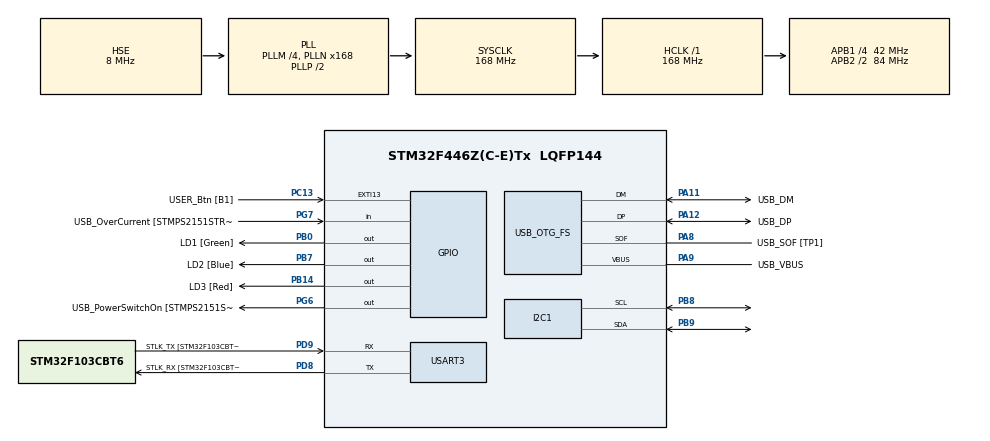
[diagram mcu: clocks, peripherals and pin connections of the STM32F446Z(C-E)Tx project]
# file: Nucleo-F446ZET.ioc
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Mcu.Family=STM32F4
Mcu.Name=STM32F446Z(C-E)Tx
Mcu.Package=LQFP144
NVIC.PriorityGroup=NVIC_PRIORITYGROUP_4
PA10.GPIO_Label=USB_ID
PA10.Signal=USB_OTG_FS_ID
PA11.GPIO_Label=USB_DM
PA11.Mode=Device_Only
PA11.Signal=USB_OTG_FS_DM
PA12.GPIO_Label=USB_DP
PA12.Mode=Device_Only
PA12.Signal=USB_OTG_FS_DP
PA13.GPIO_Label=TMS
PA13.Mode=Serial_Wire
PA13.Signal=SYS_JTMS-SWDIO
PA14.GPIO_Label=TCK
PA14.Mode=Serial_Wire
PA14.Signal=SYS_JTCK-SWCLK
PA8.GPIO_Label=USB_SOF [TP1]
PA8.Mode=Activate_SOF_FS
PA8.Signal=USB_OTG_FS_SOF
PA9.GPIO_Label=USB_VBUS
PA9.Mode=Activate_VBUS
PA9.Signal=USB_OTG_FS_VBUS
PB0.GPIO_Label=LD1 [Green]
PB0.Signal=GPIO_Output
PB14.GPIO_Label=LD3 [Red]
PB14.Signal=GPIO_Output
PB7.GPIO_Label=LD2 [Blue]
PB7.Signal=GPIO_Output
PB8.Mode=I2C
PB8.Signal=I2C1_SCL
PB9.Mode=I2C
PB9.Signal=I2C1_SDA
PC13.GPIO_Label=USER_Btn [B1]
PC13.Signal=GPXTI13
PC14-OSC32_IN.Mode=LSE-External-Oscillator
PC14-OSC32_IN.Signal=RCC_OSC32_IN
PC15-OSC32_OUT.Mode=LSE-External-Oscillator
PC15-OSC32_OUT.Signal=RCC_OSC32_OUT
PD8.GPIO_Label=STLK_RX [STM32F103CBT6_PA3]
PD8.Mode=Asynchronous
PD8.Signal=USART3_TX
PD9.GPIO_Label=STLK_TX [STM32F103CBT6_PA2]
PD9.Mode=Asynchronous
PD9.Signal=USART3_RX
PG6.GPIO_Label=USB_PowerSwitchOn [STMPS2151STR_EN]
PG6.Signal=GPIO_Output
PG7.GPIO_Label=USB_OverCurrent [STMPS2151STR_FAULT]
PG7.Signal=GPIO_Input
PH0-OSC_IN.GPIO_Label=MCO [STM32F103CBT6_PA8]
PH0-OSC_IN.Mode=HSE-External-Clock-Source
PH0-OSC_IN.Signal=RCC_OSC_IN
PH1-OSC_OUT.Mode=HSE-External-Clock-Source
PH1-OSC_OUT.Signal=RCC_OSC_OUT
ProjectManager.HeapSize=0x200
ProjectManager.StackSize=0x400
ProjectManager.TargetToolchain=STM32CubeIDE
RCC.48MHZClocksFreq_Value=24000000
RCC.AHBFreq_Value=168000000
RCC.APB1CLKDivider=RCC_HCLK_DIV4
RCC.APB1Freq_Value=42000000
RCC.APB1TimFreq_Value=84000000
RCC.APB2CLKDivider=RCC_HCLK_DIV2
RCC.APB2Freq_Value=84000000
RCC.APB2TimFreq_Value=168000000
RCC.CortexFreq_Value=168000000
RCC.HCLKFreq_Value=168000000
RCC.HSE_VALUE=8000000
RCC.HSI_VALUE=16000000
RCC.PLLM=4
RCC.PLLMUL=RCC_PLL_MUL9
RCC.PLLN=168
RCC.PLLQ=7
RCC.PRESCALERUSB=RCC_USBCLKSOURCE_PLL_DIV1_5
RCC.SYSCLKFreq_VALUE=168000000
RCC.SYSCLKSource=RCC_SYSCLKSOURCE_PLLCLK
RCC.SYSCLKSourceVirtual=RCC_SYSCLKSOURCE_PLLCLK
RCC.USBFreq_Value=48000000
RCC.VCOOutputFreq_Value=336000000
USART3.VirtualMode=VM_ASYNC
USB_OTG_FS.VirtualMode=Device_Only
board=NUCLEO-F446ZE

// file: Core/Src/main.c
/* USER CODE BEGIN Header */
/**
  ******************************************************************************
  * @file           : main.c
  * @brief          : Main program body
  ******************************************************************************
  * @attention
  *
  * Copyright (c) 2022 STMicroelectronics.
  * All rights reserved.
  *
  * This software is licensed under terms that can be found in the LICENSE file
  * in the root directory of this software component.
  * If no LICENSE file comes with this software, it is provided AS-IS.
  *
  ******************************************************************************
  */
/* USER CODE END Header */
#include "main.h"
#include "string.h"

I2C_HandleTypeDef hi2c1;

UART_HandleTypeDef huart3;

PCD_HandleTypeDef hpcd_USB_OTG_FS;

/* USER CODE BEGIN PV */
uint8_t obcAddress = 87;
uint8_t ttcAddress = 90;
uint8_t epsAddress = 93;
uint8_t adsbAddress = 95;
uint8_t loraAddress = 97;
/* USER CODE END PV */

void SystemClock_Config(void);
static void MX_GPIO_Init(void);
static void MX_USART3_UART_Init(void);
static void MX_USB_OTG_FS_PCD_Init(void);
static void MX_I2C1_Init(void);

/* USER CODE BEGIN 0 */
uint8_t sendBuffer[1] = {0};
uint8_t receiveBuffer[1] = {0};
uint8_t lenSendBuffer = sizeof(sendBuffer);
uint8_t lenReceiveBuffer = sizeof(receiveBuffer);

void send_uart(char *string){
	uint8_t len = strlen(string);
	HAL_UART_Transmit(&huart3, (uint8_t*)string, len, 2000);
}

void convert_string(){
	char strReceived[128] = "";
	for(int i = 0; i<lenReceiveBuffer; i++){
		sprintf(&strReceived[i], "%d", receiveBuffer[i]);
	}
	send_uart(strReceived);
}

void clearBuf(){
	for(int i = 0; i<lenReceiveBuffer; i++){
		receiveBuffer[i] = 0;
	}
}

//void i2c_TTC(){
//	send_uart("Send data to TTC....");
//	if(HAL_I2C_Master_Transmit(&hi2c1, ttcAddress, sendBuffer, lenSendBuffer, HAL_MAX_DELAY) == HAL_OK){
//		send_uart("Data sent to TTC successfully!!....");
//		send_uart("Waiting ACK...");
//
//		if(HAL_I2C_Master_Receive(&hi2c1, ttcAddress, receiveBuffer, lenReceiveBuffer, HAL_MAX_DELAY) == HAL_OK){
//				send_uart("ACK : ");
//				convert_string();
//				send_uart("---------------\r\n");
//		}else{
//			send_uart("NACK : I2C Receive Failed\r\n");
//			send_uart("---------------\r\n");
//		}
//	}else{
//		send_uart("Data sent Failed!!\r\n");
//		send_uart("---------------\r\n");
//	}
//
//	clearBuf();
//}
/* USER CODE END 0 */

int main(void)
{

  /* MCU Configuration--------------------------------------------------------*/

  /* Reset of all peripherals, Initializes the Flash interface and the Systick. */
  HAL_Init();

  /* Configure the system clock */
  SystemClock_Config();

  /* Initialize all configured peripherals */
  MX_GPIO_Init();
  MX_USART3_UART_Init();
  MX_USB_OTG_FS_PCD_Init();
  MX_I2C1_Init();

  /* Infinite loop */
  while (1)
  {

    /* USER CODE BEGIN 3 */
	  HAL_UART_Receive(&huart3, receiveBuffer, lenReceiveBuffer, HAL_MAX_DELAY);
	  HAL_UART_Transmit(&huart3, sendBuffer, lenSendBuffer, HAL_MAX_DELAY);
  }
  /* USER CODE END 3 */
}

void SystemClock_Config(void)
{
  RCC_OscInitTypeDef RCC_OscInitStruct = {0};
  RCC_ClkInitTypeDef RCC_ClkInitStruct = {0};

  /** Configure the main internal regulator output voltage
  */
  __HAL_RCC_PWR_CLK_ENABLE();
  __HAL_PWR_VOLTAGESCALING_CONFIG(PWR_REGULATOR_VOLTAGE_SCALE1);

  /** Initializes the RCC Oscillators according to the specified parameters
  * in the RCC_OscInitTypeDef structure.
  */
  RCC_OscInitStruct.OscillatorType = RCC_OSCILLATORTYPE_HSE;
  RCC_OscInitStruct.HSEState = RCC_HSE_BYPASS;
  RCC_OscInitStruct.PLL.PLLState = RCC_PLL_ON;
  RCC_OscInitStruct.PLL.PLLSource = RCC_PLLSOURCE_HSE;
  RCC_OscInitStruct.PLL.PLLM = 4;
  RCC_OscInitStruct.PLL.PLLN = 168;
  RCC_OscInitStruct.PLL.PLLP = RCC_PLLP_DIV2;
  RCC_OscInitStruct.PLL.PLLQ = 7;
  RCC_OscInitStruct.PLL.PLLR = 2;
  if (HAL_RCC_OscConfig(&RCC_OscInitStruct) != HAL_OK)
  {
    Error_Handler();
  }

  /** Initializes the CPU, AHB and APB buses clocks
  */
  RCC_ClkInitStruct.ClockType = RCC_CLOCKTYPE_HCLK|RCC_CLOCKTYPE_SYSCLK
                              |RCC_CLOCKTYPE_PCLK1|RCC_CLOCKTYPE_PCLK2;
  RCC_ClkInitStruct.SYSCLKSource = RCC_SYSCLKSOURCE_PLLCLK;
  RCC_ClkInitStruct.AHBCLKDivider = RCC_SYSCLK_DIV1;
  RCC_ClkInitStruct.APB1CLKDivider = RCC_HCLK_DIV4;
  RCC_ClkInitStruct.APB2CLKDivider = RCC_HCLK_DIV2;

  if (HAL_RCC_ClockConfig(&RCC_ClkInitStruct, FLASH_LATENCY_5) != HAL_OK)
  {
    Error_Handler();
  }
}

static void MX_I2C1_Init(void)
{

  hi2c1.Instance = I2C1;
  hi2c1.Init.ClockSpeed = 100000;
  hi2c1.Init.DutyCycle = I2C_DUTYCYCLE_2;
  hi2c1.Init.OwnAddress1 = 87;
  hi2c1.Init.AddressingMode = I2C_ADDRESSINGMODE_7BIT;
  hi2c1.Init.DualAddressMode = I2C_DUALADDRESS_DISABLE;
  hi2c1.Init.OwnAddress2 = 0;
  hi2c1.Init.GeneralCallMode = I2C_GENERALCALL_DISABLE;
  hi2c1.Init.NoStretchMode = I2C_NOSTRETCH_DISABLE;
  if (HAL_I2C_Init(&hi2c1) != HAL_OK)
  {
    Error_Handler();
  }

}

static void MX_USART3_UART_Init(void)
{

  huart3.Instance = USART3;
  huart3.Init.BaudRate = 115200;
  huart3.Init.WordLength = UART_WORDLENGTH_8B;
  huart3.Init.StopBits = UART_STOPBITS_1;
  huart3.Init.Parity = UART_PARITY_NONE;
  huart3.Init.Mode = UART_MODE_TX_RX;
  huart3.Init.HwFlowCtl = UART_HWCONTROL_NONE;
  huart3.Init.OverSampling = UART_OVERSAMPLING_16;
  if (HAL_UART_Init(&huart3) != HAL_OK)
  {
    Error_Handler();
  }

}

static void MX_USB_OTG_FS_PCD_Init(void)
{

  hpcd_USB_OTG_FS.Instance = USB_OTG_FS;
  hpcd_USB_OTG_FS.Init.dev_endpoints = 6;
  hpcd_USB_OTG_FS.Init.speed = PCD_SPEED_FULL;
  hpcd_USB_OTG_FS.Init.dma_enable = DISABLE;
  hpcd_USB_OTG_FS.Init.phy_itface = PCD_PHY_EMBEDDED;
  hpcd_USB_OTG_FS.Init.Sof_enable = ENABLE;
  hpcd_USB_OTG_FS.Init.low_power_enable = DISABLE;
  hpcd_USB_OTG_FS.Init.lpm_enable = DISABLE;
  hpcd_USB_OTG_FS.Init.vbus_sensing_enable = ENABLE;
  hpcd_USB_OTG_FS.Init.use_dedicated_ep1 = DISABLE;
  if (HAL_PCD_Init(&hpcd_USB_OTG_FS) != HAL_OK)
  {
    Error_Handler();
  }

}

static void MX_GPIO_Init(void)
{
  GPIO_InitTypeDef GPIO_InitStruct = {0};

  /* GPIO Ports Clock Enable */
  __HAL_RCC_GPIOC_CLK_ENABLE();
  __HAL_RCC_GPIOH_CLK_ENABLE();
  __HAL_RCC_GPIOB_CLK_ENABLE();
  __HAL_RCC_GPIOD_CLK_ENABLE();
  __HAL_RCC_GPIOG_CLK_ENABLE();
  __HAL_RCC_GPIOA_CLK_ENABLE();

  /*Configure GPIO pin Output Level */
  HAL_GPIO_WritePin(GPIOB, LD1_Pin|LD3_Pin|LD2_Pin, GPIO_PIN_RESET);

  /*Configure GPIO pin Output Level */
  HAL_GPIO_WritePin(USB_PowerSwitchOn_GPIO_Port, USB_PowerSwitchOn_Pin, GPIO_PIN_RESET);

  /*Configure GPIO pin : USER_Btn_Pin */
  GPIO_InitStruct.Pin = USER_Btn_Pin;
  GPIO_InitStruct.Mode = GPIO_MODE_IT_RISING;
  GPIO_InitStruct.Pull = GPIO_NOPULL;
  HAL_GPIO_Init(USER_Btn_GPIO_Port, &GPIO_InitStruct);

  /*Configure GPIO pins : LD1_Pin LD3_Pin LD2_Pin */
  GPIO_InitStruct.Pin = LD1_Pin|LD3_Pin|LD2_Pin;
  GPIO_InitStruct.Mode = GPIO_MODE_OUTPUT_PP;
  GPIO_InitStruct.Pull = GPIO_NOPULL;
  GPIO_InitStruct.Speed = GPIO_SPEED_FREQ_LOW;
  HAL_GPIO_Init(GPIOB, &GPIO_InitStruct);

  /*Configure GPIO pin : USB_PowerSwitchOn_Pin */
  GPIO_InitStruct.Pin = USB_PowerSwitchOn_Pin;
  GPIO_InitStruct.Mode = GPIO_MODE_OUTPUT_PP;
  GPIO_InitStruct.Pull = GPIO_NOPULL;
  GPIO_InitStruct.Speed = GPIO_SPEED_FREQ_LOW;
  HAL_GPIO_Init(USB_PowerSwitchOn_GPIO_Port, &GPIO_InitStruct);

  /*Configure GPIO pin : USB_OverCurrent_Pin */
  GPIO_InitStruct.Pin = USB_OverCurrent_Pin;
  GPIO_InitStruct.Mode = GPIO_MODE_INPUT;
  GPIO_InitStruct.Pull = GPIO_NOPULL;
  HAL_GPIO_Init(USB_OverCurrent_GPIO_Port, &GPIO_InitStruct);

}

void Error_Handler(void)
{
  __disable_irq();
  while (1)
  {
  }
}
